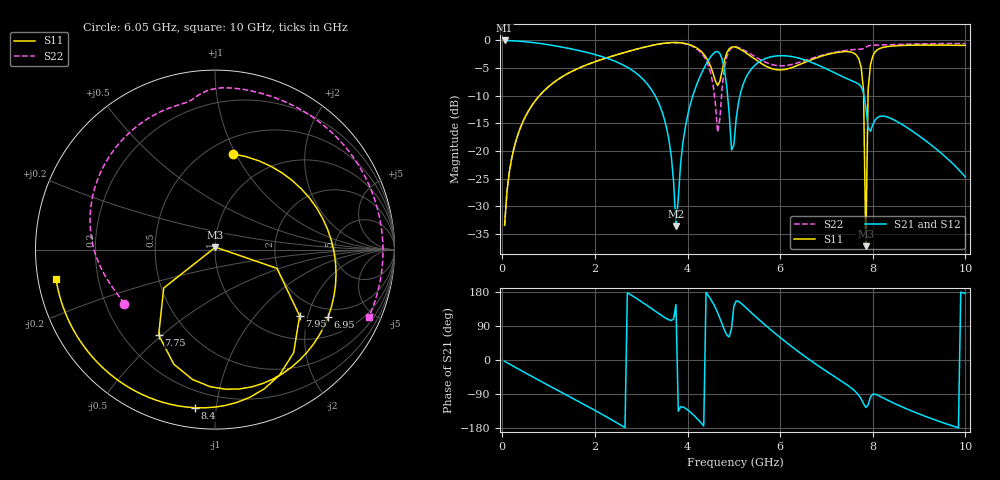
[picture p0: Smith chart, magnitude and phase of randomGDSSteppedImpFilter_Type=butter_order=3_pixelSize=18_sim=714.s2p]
! freq	dB(S11)	phase(S11)	dB(S12)	phase(S12)
!  dB(S21)	phase(S21)	dB(S22)	phase(S22)
!S-par simulation data
#  GHz  S  DB  R 50
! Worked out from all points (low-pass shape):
!   200 points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, 50 MHz to 10 GHz, reference 50 ohm
!   highest |S21| = -0.01 dB at 50 MHz (marker M1); lowest = -33.6 dB at 3.75 GHz (marker M2)
!   |S21| within 3 dB of the highest: start of sweep to 2.182 GHz; 5.786 GHz to 6.303 GHz (517 MHz wide, 8.55 % of centre) (the widest 2 of 3)
!   lowest |S11| = -37.2 dB at 7.85 GHz (marker M3), VSWR 1.03, Z = 50.2 + j1.36 ohm
!   |S11| at or under -10 dB: start of sweep to 801.5 MHz; 7.802 GHz to 7.898 GHz (96.11 MHz wide, 1.22 % of centre)
!   |S22| runs from -33.4 to -0.4 dB; largest |S21 - S12| = 0
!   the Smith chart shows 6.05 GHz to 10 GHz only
!   S11 on the Smith chart (normalised r, x): 6.05 GHz: 0.64, +0.97; 6.95 GHz: 1.67, -2.71; 7.75 GHz: 0.35, -0.49; 7.95 GHz: 1.54, -1.78; 8.4 GHz: 0.11, -0.88; 10 GHz: 0.05, -0.09
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0.05  -33.43 -93.6  -0.01 -3.5  -0.01 -3.5  -33.42 -93.2
0.5  -13.76 -126.5  -0.24 -34.1  -0.24 -34.1  -13.75 -122.7
1.75  -4.66 146.1  -2.02 -116.3  -2.02 -116.3  -4.65 159.8
2.7  -2.04 76.4  -4.85 177.7  -4.85 177.7  -2.04 96.8
3.4  -0.62 17.0  -11.77 120.8  -11.77 120.8  -0.65 38.4
3.75  -0.37 -16.7  -33.60 146.0  -33.60 146.0  -0.42 2.8
4.4  -3.06 -86.4  -4.32 178.2  -4.32 178.2  -3.56 -84.9
4.65  -8.14 -85.3  -2.01 124.8  -2.01 124.8  -16.59 164.1
4.75  -5.38 -69.1  -3.45 93.5  -3.45 93.5  -8.25 34.8
4.95  -1.20 -103.9  -19.80 83.5  -19.80 83.5  -1.36 -42.3
5.05  -1.24 -122.4  -14.20 155.7  -14.20 155.7  -1.18 -64.3
6.05  -5.31 79.4  -2.76 54.5  -2.76 54.5  -4.59 -149.2
6.7  -3.40 -6.4  -4.04 -5.0  -4.04 -5.0  -3.19 174.2
6.95  -2.70 -30.7  -4.95 -25.7  -4.95 -25.7  -2.59 156.9
7.75  -4.89 -123.4  -8.37 -103.0  -8.37 -103.0  -1.57 101.3
7.8  -8.95 -143.2  -9.46 -114.9  -9.46 -114.9  -1.47 98.8
7.85  -37.21 79.3  -12.07 -125.3  -12.07 -125.3  -1.25 96.1
7.9  -8.85 -16.9  -15.77 -118.5  -15.77 -118.5  -1.01 92.2
7.95  -4.45 -38.1  -16.43 -98.0  -16.43 -98.0  -0.90 87.9
8.35  -1.08 -93.9  -13.96 -107.8  -13.96 -107.8  -0.78 60.4
8.4  -1.03 -97.2  -14.14 -110.7  -14.14 -110.7  -0.77 57.3
10  -0.91 -169.4  -24.71 175.6  -24.71 175.6  -0.58 -23.7
